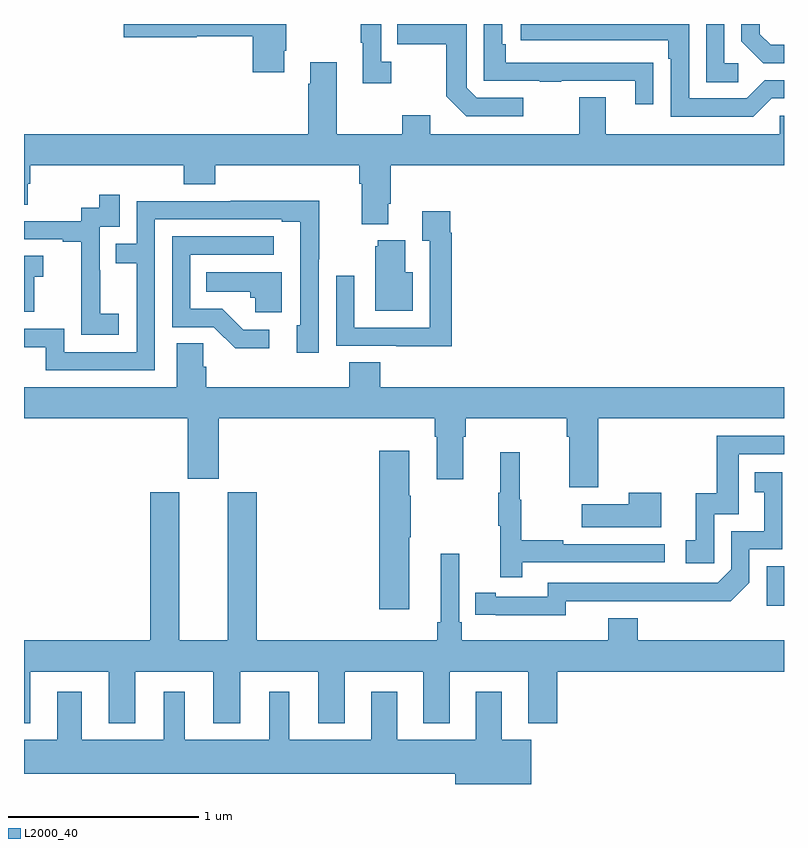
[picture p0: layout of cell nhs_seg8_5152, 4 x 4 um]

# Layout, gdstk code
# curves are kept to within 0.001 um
import gdstk
lib = gdstk.Library(unit=1e-6, precision=1e-09)
def R(c, l, rs):  # rectangles x0, y0, x1, y1
    for r in rs: c.add(gdstk.rectangle(r[:2], r[2:], *l))
def P(c, l, *ps):  # polygons
    for p in ps: c.add(gdstk.Polygon(p, *l))
L2000_40 = (2000, 40)

nhs_seg8_5152 = lib.new_cell('nhs_seg8_5152')
R(nhs_seg8_5152, L2000_40, [(424.908,1124.838,425,1125.045)])
P(nhs_seg8_5152, L2000_40, [(423.628,1127.511),(423.384,1127.511),(423.33,1127.565),(423.33,1127.9),(422.965,1127.9),(422.965,1127.794),(423.222,1127.794),(423.222,1127.521),(423.327,1127.415),(423.628,1127.415)],
  [(425,1127.79),(424.93,1127.79),(424.873,1127.847),(424.873,1127.9),(424.776,1127.9),(424.776,1127.81),(424.892,1127.694),(425,1127.694)],
  [(424.313,1127.696),(424.211,1127.696),(424.211,1127.697),(423.536,1127.697),(423.536,1127.794),(423.516,1127.794),(423.516,1127.9),(423.42,1127.9),(423.42,1127.601),(423.715,1127.601),(423.715,1127.596),(423.827,1127.596),(423.827,1127.601),(424.217,1127.601),(424.217,1127.478),(424.313,1127.478)],
  [(424.935,1127.508),(425,1127.508),(425,1127.604),(424.899,1127.604),(424.803,1127.508),(424.5,1127.508),(424.5,1127.9),(423.615,1127.9),(423.615,1127.814),(424.391,1127.814),(424.391,1127.717),(424.404,1127.717),(424.404,1127.412),(424.839,1127.412)],
  [(422.371,1127.758),(422.379,1127.758),(422.379,1127.9),(421.524,1127.9),(421.524,1127.831),(421.908,1127.831),(421.908,1127.836),(422.204,1127.836),(422.204,1127.646),(422.371,1127.646)],
  [(424.759,1127.694),(424.686,1127.694),(424.686,1127.9),(424.59,1127.9),(424.59,1127.593),(424.759,1127.593)],
  [(422.932,1127.702),(422.88,1127.702),(422.88,1127.9),(422.772,1127.9),(422.772,1127.801),(422.783,1127.801),(422.783,1127.589),(422.932,1127.589)],
  [(422.917,1126.954),(422.93,1126.954),(422.93,1127.156),(425,1127.156),(425,1127.418),(424.977,1127.418),(424.977,1127.32),(424.063,1127.32),(424.063,1127.515),(423.923,1127.515),(423.923,1127.32),(423.139,1127.32),(423.139,1127.419),(422.992,1127.419),(422.992,1127.32),(422.647,1127.32),(422.647,1127.698),(422.507,1127.698),(422.507,1127.585),(422.495,1127.585),(422.495,1127.32),(421,1127.32),(421,1126.948),(421.021,1126.948),(421.021,1127.058),(421.034,1127.058),(421.034,1127.156),(421.841,1127.156),(421.841,1127.057),(422.006,1127.057),(422.006,1127.156),(422.765,1127.156),(422.765,1127.06),(422.777,1127.06),(422.777,1126.847),(422.917,1126.847)],
  [(421.498,1126.375),(421.4,1126.375),(421.4,1126.604),(421.398,1126.604),(421.398,1126.833),(421.503,1126.833),(421.503,1127.002),(421.395,1127.002),(421.395,1126.932),(421.302,1126.932),(421.302,1126.863),(421,1126.863),(421,1126.767),(421.205,1126.767),(421.205,1126.755),(421.301,1126.755),(421.301,1126.471),(421.3,1126.471),(421.3,1126.265),(421.498,1126.265)],
  [(421.689,1126.872),(422.357,1126.872),(422.357,1126.86),(422.454,1126.86),(422.454,1126.314),(422.435,1126.314),(422.435,1126.17),(422.55,1126.17),(422.55,1126.663),(422.553,1126.663),(422.553,1126.97),(422.089,1126.97),(422.089,1126.968),(421.593,1126.968),(421.593,1126.743),(421.483,1126.743),(421.483,1126.642),(421.593,1126.642),(421.593,1126.173),(421.212,1126.173),(421.212,1126.296),(421,1126.296),(421,1126.2),(421.115,1126.2),(421.115,1126.077),(421.689,1126.077)],
  [(423.251,1126.802),(423.244,1126.802),(423.244,1126.915),(423.095,1126.915),(423.095,1126.759),(423.135,1126.759),(423.135,1126.302),(422.739,1126.302),(422.739,1126.576),(422.643,1126.576),(422.643,1126.206),(422.959,1126.206),(422.959,1126.205),(423.251,1126.205)],
  [(422.29,1126.29),(422.155,1126.29),(422.044,1126.401),(421.875,1126.401),(421.875,1126.686),(422.314,1126.686),(422.314,1126.782),(421.779,1126.782),(421.779,1126.305),(421.998,1126.305),(422.111,1126.193),(422.29,1126.193)],
  [(423.046,1126.594),(423.007,1126.594),(423.007,1126.762),(422.861,1126.762),(422.861,1126.731),(422.849,1126.731),(422.849,1126.391),(423.046,1126.391)],
  [(421.053,1126.571),(421.102,1126.571),(421.102,1126.681),(421,1126.681),(421,1126.386),(421.053,1126.386)],
  [(422.356,1126.594),(421.96,1126.594),(421.96,1126.49),(422.191,1126.49),(422.191,1126.458),(422.217,1126.458),(422.217,1126.382),(422.356,1126.382)],
  [(424.022,1125.824),(425,1125.824),(425,1125.988),(422.876,1125.988),(422.876,1126.121),(422.711,1126.121),(422.711,1125.988),(421.958,1125.988),(421.958,1126.097),(421.944,1126.097),(421.944,1126.22),(421.805,1126.22),(421.805,1125.988),(421,1125.988),(421,1125.824),(421.862,1125.824),(421.862,1125.507),(422.026,1125.507),(422.026,1125.824),(423.161,1125.824),(423.161,1125.728),(423.173,1125.728),(423.173,1125.504),(423.313,1125.504),(423.313,1125.728),(423.326,1125.728),(423.326,1125.824),(423.857,1125.824),(423.857,1125.728),(423.869,1125.728),(423.869,1125.462),(424.022,1125.462)],
  [(424.632,1125.321),(424.761,1125.321),(424.761,1125.636),(425,1125.636),(425,1125.732),(424.645,1125.732),(424.645,1125.43),(424.535,1125.43),(424.535,1125.183),(424.482,1125.183),(424.482,1125.063),(424.632,1125.063)],
  [(423.028,1125.199),(423.036,1125.199),(423.036,1125.416),(423.028,1125.416),(423.028,1125.655),(422.87,1125.655),(422.87,1124.82),(423.028,1124.82)],
  [(423.623,1125.066),(424.372,1125.066),(424.372,1125.162),(423.839,1125.162),(423.839,1125.182),(423.616,1125.182),(423.616,1125.396),(423.608,1125.396),(423.608,1125.646),(423.506,1125.646),(423.506,1125.433),(423.495,1125.433),(423.495,1125.259),(423.506,1125.259),(423.506,1124.988),(423.623,1124.988)],
  [(423.852,1124.862),(424.72,1124.861),(424.818,1124.958),(424.818,1125.135),(424.992,1125.135),(424.992,1125.541),(424.846,1125.541),(424.846,1125.435),(424.895,1125.435),(424.895,1125.231),(424.722,1125.231),(424.722,1125.03),(424.65,1124.958),(423.756,1124.958),(423.756,1124.886),(423.484,1124.886),(423.484,1124.906),(423.376,1124.906),(423.376,1124.79),(423.852,1124.789)],
  [(421.033,1124.492),(421.445,1124.492),(421.445,1124.219),(421.585,1124.219),(421.585,1124.492),(421.997,1124.492),(421.997,1124.219),(422.137,1124.219),(422.137,1124.492),(422.549,1124.492),(422.549,1124.219),(422.689,1124.219),(422.689,1124.492),(423.101,1124.492),(423.101,1124.219),(423.241,1124.219),(423.241,1124.492),(423.653,1124.492),(423.653,1124.219),(423.806,1124.219),(423.806,1124.492),(425,1124.492),(425,1124.656),(424.229,1124.656),(424.229,1124.773),(424.076,1124.773),(424.076,1124.656),(423.305,1124.656),(423.305,1124.752),(423.291,1124.752),(423.291,1125.112),(423.194,1125.112),(423.194,1124.752),(423.175,1124.752),(423.175,1124.656),(422.225,1124.656),(422.225,1125.435),(422.072,1125.435),(422.072,1124.656),(421.816,1124.656),(421.816,1125.435),(421.664,1125.435),(421.664,1124.656),(421,1124.656),(421,1124.219),(421.033,1124.219)],
  [(424.354,1125.433),(424.184,1125.433),(424.184,1125.373),(423.935,1125.373),(423.935,1125.251),(424.354,1125.251)],
  [(423.67,1124.134),(423.514,1124.134),(423.514,1124.386),(423.377,1124.386),(423.377,1124.134),(422.965,1124.134),(422.965,1124.386),(422.828,1124.386),(422.828,1124.134),(422.395,1124.134),(422.395,1124.386),(422.291,1124.386),(422.291,1124.134),(421.846,1124.134),(421.846,1124.386),(421.736,1124.386),(421.736,1124.134),(421.303,1124.134),(421.303,1124.386),(421.175,1124.386),(421.175,1124.134),(421,1124.134),(421,1123.955),(423.269,1123.955),(423.269,1123.9),(423.67,1123.9)])

lib.write_gds('nhs_seg8_5152.gds')
